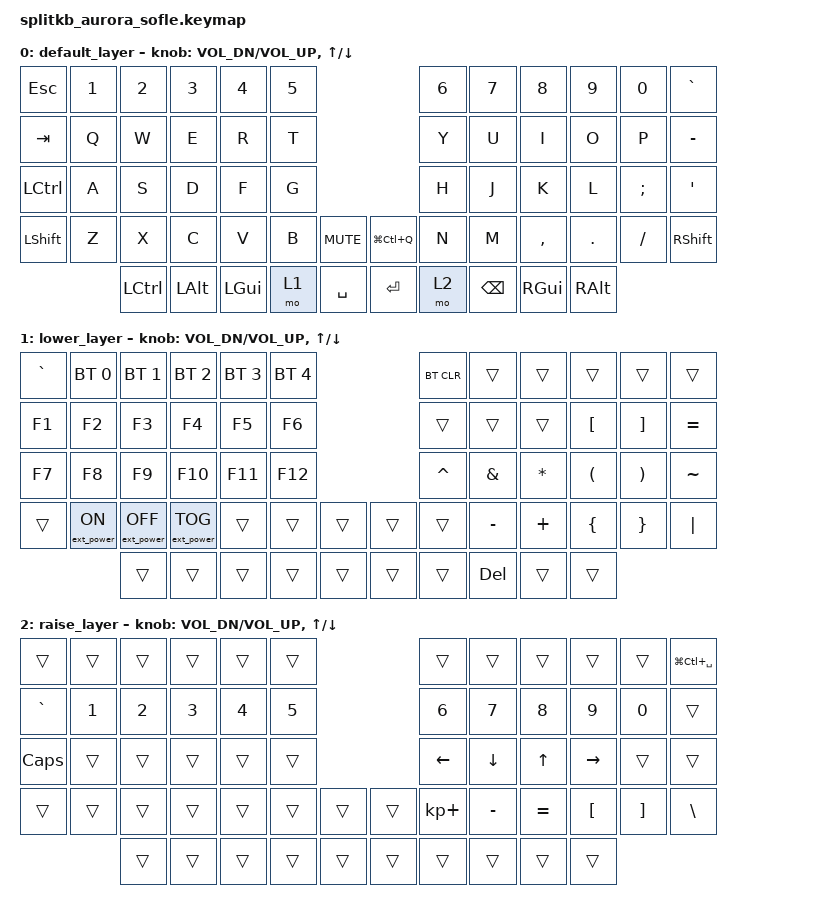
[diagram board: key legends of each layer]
/*
 * Copyright (c) 2023 The ZMK Contributors
 *
 * SPDX-License-Identifier: MIT
 */

#include <behaviors.dtsi>
#include <dt-bindings/zmk/keys.h>
#include <dt-bindings/zmk/bt.h>
#include <dt-bindings/zmk/ext_power.h>

/* Uncomment this block if using RGB
&led_strip {
    chain-length = <6>;
    // chain-length = <35>; // Uncomment if using both per-key and underglow LEDs
    // chain-length = <29>; // Uncomment if using only per-key LEDs.
};
 */

/ {
    keymap {
        compatible = "zmk,keymap";

        default_layer {
// ------------------------------------------------------------------------------------------------------------
// |  ESC  |  1  |  2  |  3   |  4   |  5   |                   |  6   |  7    |  8    |  9   |   0   |   `   |
// |  TAB  |  Q  |  W  |  E   |  R   |  T   |                   |  Y   |  U    |  I    |  O   |   P   |   -   |
// |  CTRL |  A  |  S  |  D   |  F   |  G   |                   |  H   |  J    |  K    |  L   |   ;   |   '   |
// | SHIFT |  Z  |  X  |  C   |  V   |  B   | [MUTE] |  |[LOCK] |  N   |  M    |  ,    |  .   |   /   | SHIFT |
//               |CTRL | ALT  | GUI  | LOWER|  SPACE |  | ENTER | RAISE| BSPC  | GUI   | RALT |
            bindings = <
&kp ESC   &kp N1 &kp N2    &kp N3   &kp N4   &kp N5                          &kp N6 &kp N7   &kp N8    &kp N9   &kp N0   &kp GRAVE
&kp TAB   &kp Q  &kp W     &kp E    &kp R    &kp T                           &kp Y  &kp U    &kp I     &kp O    &kp P    &kp MINUS
&kp LCTRL &kp A  &kp S     &kp D    &kp F    &kp G                           &kp H  &kp J    &kp K     &kp L    &kp SEMI &kp SQT
&kp LSHFT &kp Z  &kp X     &kp C    &kp V    &kp B  &kp C_MUTE &kp LG(LC(Q)) &kp N  &kp M    &kp COMMA &kp DOT  &kp FSLH &kp RSHFT
                 &kp LCTRL &kp LALT &kp LGUI &mo 1  &kp SPACE  &kp RET       &mo 2  &kp BSPC &kp RGUI  &kp RALT
            >;

            sensor-bindings = <&inc_dec_kp C_VOL_DN C_VOL_UP &inc_dec_kp UP_ARROW DOWN_ARROW>;
        };

        lower_layer {
// ------------------------------------------------------------------------------------------------------------
// |   `   | BT1 | BT2 |  BT3 |  BT4 |  BT5 |                   |      |       |       |      |       | BTCLR |
// |  F1   |  F2 |  F3 |  F4  |  F5  |  F6  |                   |      |       |       |  [   |   ]   |   =   |
// |  F7   |  F8 |  F9 |  F10 |  F11 |  F12 |                   |  ^   |  &    |  *    |  (   |   )   |   ~   |
// |       |     |     |      |      |      |        |  |       |      |  _    |  +    |  {   |   }   |  "|"  |
//               |     |      |      |      |        |  |       |      | DELETE|       |      |
            bindings = <
&kp GRAVE  &bt BT_SEL 0     &bt BT_SEL 1      &bt BT_SEL 2      &bt BT_SEL 3 &bt BT_SEL 4                 &bt BT_CLR &trans     &trans    &trans    &trans    &trans
&kp F1     &kp F2           &kp F3            &kp F4            &kp F5       &kp F6                       &trans     &trans     &trans    &kp LBKT  &kp RBKT  &kp EQUAL
&kp F7     &kp F8           &kp F9            &kp F10           &kp F11      &kp F12                      &kp CARET  &kp AMPS   &kp STAR  &kp LPAR  &kp RPAR  &kp TILDE
&trans     &ext_power EP_ON &ext_power EP_OFF &ext_power EP_TOG &trans       &trans    &trans   &trans    &trans     &kp MINUS  &kp PLUS  &kp LBRC  &kp RBRC  &kp PIPE
                            &trans            &trans            &trans       &trans    &trans   &trans    &trans     &kp DELETE &trans    &trans
            >;

            sensor-bindings = <&inc_dec_kp C_VOL_DN C_VOL_UP &inc_dec_kp UP_ARROW DOWN_ARROW>;
        };

        raise_layer {
// -------------------------------------------------------------------------------------------------------------
// |       |     |     |      |      |      |                   |      |       |       |      |       |RC_EMOJI|
// |   `   |  1  |  2  |  3   |  4   |  5   |                   |  6   |   7   |   8   |  9   |   0   |        |
// |  CAPS |     |     |      |      |      |                   |      |   <-  |   v   |  ^   |  ->   |        |
// |       |     |     |      |      |      |        |  |       |  +   |   -   |   =   |  [   |   ]   |   \    |
//               |     |      |      |      |        |  |       |      |       |       |      |
            bindings = <
&trans    &trans &trans &trans  &trans  &trans                       &trans      &trans    &trans    &trans    &trans    &kp LG(LC(SPACE))
&kp GRAVE &kp N1 &kp N2 &kp N3  &kp N4  &kp N5                       &kp N6      &kp N7    &kp N8    &kp N9    &kp N0    &trans
&kp CAPS  &trans &trans &trans  &trans  &trans                       &kp LEFT    &kp DOWN  &kp UP    &kp RIGHT &trans    &trans
&trans    &trans &trans &trans  &trans  &trans    &trans   &trans    &kp KP_PLUS &kp MINUS &kp EQUAL &kp LBKT  &kp RBKT  &kp BSLH
                 &trans &trans  &trans  &trans    &trans   &trans    &trans      &trans    &trans    &trans
            >;

            sensor-bindings = <&inc_dec_kp C_VOL_DN C_VOL_UP &inc_dec_kp UP_ARROW DOWN_ARROW>;
        };
    };
};
